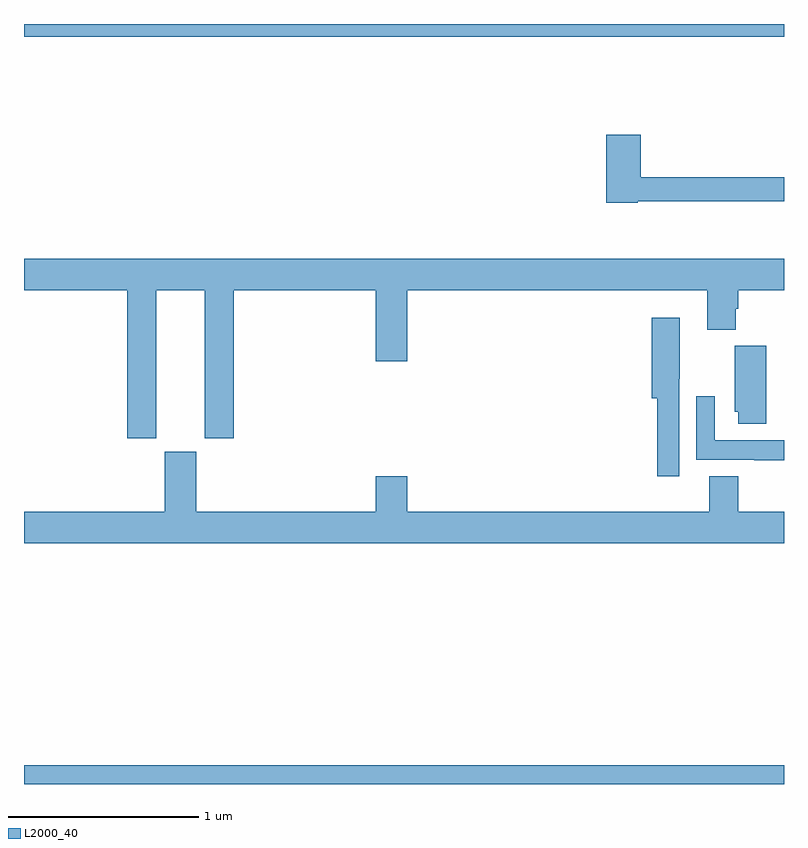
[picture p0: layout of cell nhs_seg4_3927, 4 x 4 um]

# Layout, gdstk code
import gdstk
lib = gdstk.Library(unit=1e-6, precision=1e-09)
def R(c, l, rs):  # rectangles x0, y0, x1, y1
    for r in rs: c.add(gdstk.rectangle(r[:2], r[2:], *l))
def P(c, l, *ps):  # polygons
    for p in ps: c.add(gdstk.Polygon(p, *l))
L2000_40 = (2000, 40)

nhs_seg4_3927 = lib.new_cell('nhs_seg4_3927')
R(nhs_seg4_3927, L2000_40, [(319,780.9,323,781), (319,784.832,323,784.9)])
P(nhs_seg4_3927, L2000_40, [(322.23,783.966),(323,783.966),(323,784.094),(322.247,784.094),(322.247,784.318),(322.064,784.318),(322.064,783.958),(322.23,783.958)],
  [(319.696,783.5),(319.952,783.5),(319.952,782.721),(320.105,782.721),(320.105,783.5),(320.852,783.5),(320.852,783.126),(321.016,783.126),(321.016,783.5),(322.595,783.5),(322.595,783.292),(322.747,783.292),(322.747,783.401),(322.76,783.401),(322.76,783.5),(323,783.5),(323,783.664),(319,783.664),(319,783.5),(319.544,783.5),(319.544,782.721),(319.696,782.721)],
  [(322.449,783.034),(322.45,783.034),(322.45,783.355),(322.304,783.355),(322.304,782.93),(322.333,782.93),(322.333,782.52),(322.449,782.52)],
  [(322.906,783.207),(322.742,783.207),(322.742,782.859),(322.76,782.859),(322.76,782.796),(322.906,782.796)],
  [(323,782.71),(322.635,782.71),(322.635,782.941),(322.539,782.941),(322.539,782.606),(322.843,782.606),(322.843,782.604),(323,782.604)],
  [(323,782.332),(322.76,782.332),(322.76,782.521),(322.607,782.521),(322.607,782.332),(321.016,782.332),(321.016,782.521),(320.852,782.521),(320.852,782.332),(319.906,782.332),(319.906,782.649),(319.742,782.649),(319.742,782.332),(319,782.332),(319,782.168),(323,782.168)])

lib.write_gds('nhs_seg4_3927.gds')
